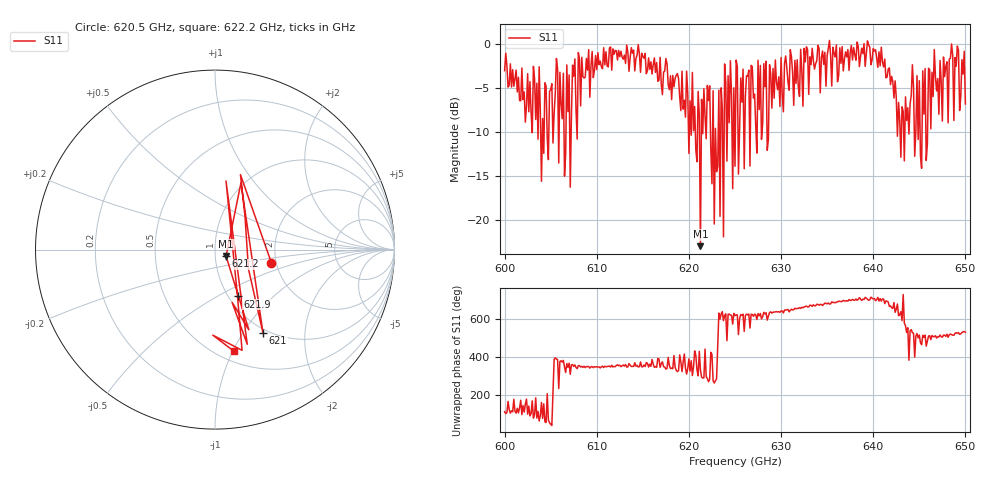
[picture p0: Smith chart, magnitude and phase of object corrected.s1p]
!Created with skrf (http://scikit-rf.org).
# GHz S MA R 50.0
!freq magS11 angS11
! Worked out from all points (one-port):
!   401 points, 600 GHz to 650 GHz, reference 50 ohm
!   lowest |S11| = -22.9 dB at 621.2 GHz (marker M1), VSWR 1.15, Z = 56.4 - j4.11 ohm
!   |S11| at or under -10 dB: 604.6114 GHz to 604.8005 GHz (189.1 MHz wide, 0.0313 % of centre); 606.4464 GHz to 606.6557 GHz (209.3 MHz wide, 0.0345 % of centre); 620.6982 GHz to 620.9279 GHz (229.7 MHz wide, 0.037 % of centre) (the widest 3 of 38)
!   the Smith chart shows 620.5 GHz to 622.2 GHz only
!   S11 on the Smith chart (normalised r, x): 620.5 GHz: 1.88, -0.30; 621 GHz: 0.95, -1.24; 621.2 GHz: 1.13, -0.08; 621.9 GHz: 1.10, -0.63; 622.2 GHz: 0.60, -1.01
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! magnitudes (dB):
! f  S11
! 600 GHz  -3.0
! 603.5 GHz  -4.5
! 604.1 GHz  -8.5
! 605.8 GHz  -2.9
! 606.2 GHz  -8.5
! 606.9 GHz  -7.7
! 608.2 GHz  -7.0
! 612.5 GHz  -1.5
! 618.8 GHz  -3.4
! 620.5 GHz  -9.8
! 621 GHz  -5.4
! 621.2 GHz  -22.9
! 621.9 GHz  -10.8
! 622.2 GHz  -4.8
! 622.8 GHz  -20.4
! 624.1 GHz  -13.3
! 625 GHz  -13.9
! 626.6 GHz  -13.8
! 628.8 GHz  -2.4
! 631.2 GHz  -3.2
! 637.5 GHz  -1.0
! 640.9 GHz  -0.4
! 643.1 GHz  -7.1
! 643.8 GHz  -7.2
! 645.1 GHz  -12.7
! 646.6 GHz  -0.7
! 648.4 GHz  -1.6
! 650 GHz  -6.8
